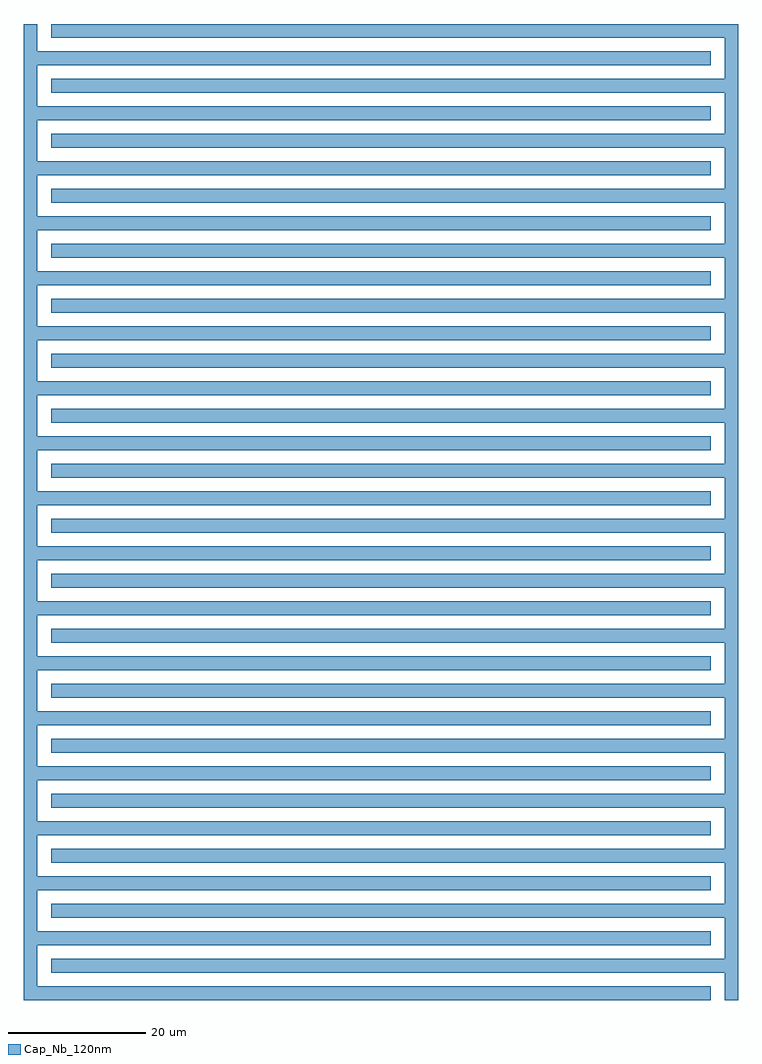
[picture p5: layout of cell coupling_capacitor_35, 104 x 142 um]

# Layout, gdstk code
import gdstk
lib = gdstk.Library(unit=1e-6, precision=1e-09)
def R(c, l, rs):  # rectangles x0, y0, x1, y1
    for r in rs: c.add(gdstk.rectangle(r[:2], r[2:], *l))
def A(c, l, x, y, w, h, nx, ny, dx, dy):  # array of equal rectangles
    R(c, l, [(x+i*dx, y+j*dy, x+i*dx+w, y+j*dy+h) for i in range(nx) for j in range(ny)])
Cap_Nb_120nm = (6, 0)

coupling_capacitor_35 = lib.new_cell('coupling_capacitor_35')
A(coupling_capacitor_35, Cap_Nb_120nm, -50, -71, 98, 2, 1, 18, 0, 8)
A(coupling_capacitor_35, Cap_Nb_120nm, -48, -67, 98, 2, 1, 18, 0, 8)
R(coupling_capacitor_35, Cap_Nb_120nm, [(-52,-71,-50,71), (50,-71,52,71)])

lib.write_gds('coupling_capacitor_35.gds')
